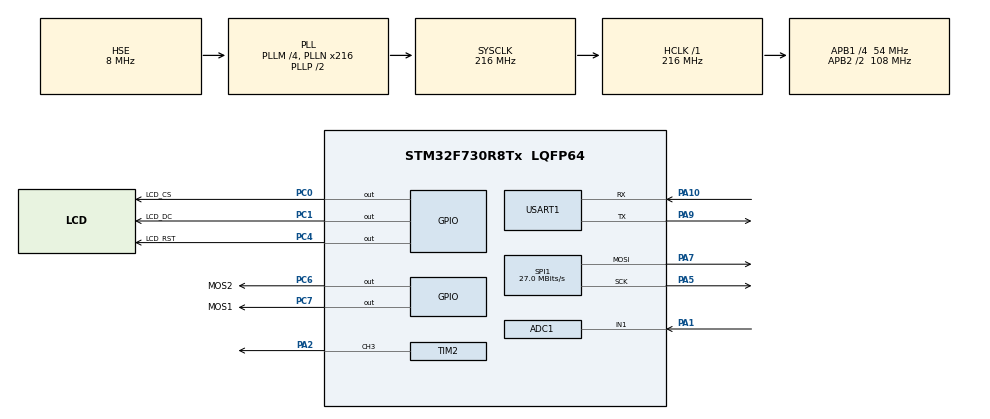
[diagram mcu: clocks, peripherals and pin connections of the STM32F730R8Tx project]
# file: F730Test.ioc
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ADC1.Channel-0\#ChannelRegularConversion=ADC_CHANNEL_1
ADC1.ContinuousConvMode=ENABLE
ADC1.DMAContinuousRequests=ENABLE
ADC1.EOCSelection=ADC_EOC_SEQ_CONV
ADC1.NbrOfConversionFlag=1
ADC1.Rank-0\#ChannelRegularConversion=1
ADC1.SamplingTime-0\#ChannelRegularConversion=ADC_SAMPLETIME_480CYCLES
ADC1.ScanConvMode=ADC_SCAN_ENABLE
ADC1.master=1
CORTEX_M7.default_mode_Activation=1
Dma.ADC1.1.Direction=DMA_PERIPH_TO_MEMORY
Dma.ADC1.1.FIFOMode=DMA_FIFOMODE_DISABLE
Dma.ADC1.1.Instance=DMA2_Stream0
Dma.ADC1.1.MemDataAlignment=DMA_MDATAALIGN_HALFWORD
Dma.ADC1.1.MemInc=DMA_MINC_ENABLE
Dma.ADC1.1.Mode=DMA_CIRCULAR
Dma.ADC1.1.PeriphDataAlignment=DMA_PDATAALIGN_HALFWORD
Dma.ADC1.1.PeriphInc=DMA_PINC_DISABLE
Dma.ADC1.1.Priority=DMA_PRIORITY_LOW
Dma.Request0=USART1_RX
Dma.Request1=ADC1
Dma.USART1_RX.0.Direction=DMA_PERIPH_TO_MEMORY
Dma.USART1_RX.0.FIFOMode=DMA_FIFOMODE_DISABLE
Dma.USART1_RX.0.Instance=DMA2_Stream2
Dma.USART1_RX.0.MemDataAlignment=DMA_MDATAALIGN_BYTE
Dma.USART1_RX.0.MemInc=DMA_MINC_ENABLE
Dma.USART1_RX.0.Mode=DMA_NORMAL
Dma.USART1_RX.0.PeriphDataAlignment=DMA_PDATAALIGN_BYTE
Dma.USART1_RX.0.PeriphInc=DMA_PINC_DISABLE
Dma.USART1_RX.0.Priority=DMA_PRIORITY_LOW
FREERTOS.INCLUDE_eTaskGetState=1
FREERTOS.INCLUDE_pcTaskGetTaskName=1
FREERTOS.INCLUDE_uxTaskGetStackHighWaterMark=1
FREERTOS.INCLUDE_uxTaskGetStackHighWaterMark2=1
FREERTOS.INCLUDE_vTaskCleanUpResources=1
FREERTOS.INCLUDE_vTaskDelayUntil=1
FREERTOS.INCLUDE_xQueueGetMutexHolder=1
FREERTOS.INCLUDE_xSemaphoreGetMutexHolder=1
FREERTOS.INCLUDE_xTaskAbortDelay=1
FREERTOS.INCLUDE_xTaskGetCurrentTaskHandle=1
FREERTOS.INCLUDE_xTaskGetHandle=1
FREERTOS.Queues01=myQueue01,64,uint16_t,0,Dynamic,NULL,NULL;myQueue02,32,uint16_t,0,Dynamic,NULL,NULL
FREERTOS.Tasks01=defaultTask,0,64,StartDefaultTask,Default,NULL,Dynamic,NULL,NULL;myTaskLCD,0,512,StartTaskLCD,Default,NULL,Dynamic,NULL,NULL;myTaskADC,2,256,StartTaskADC,Default,NULL,Dynamic,NULL,NULL
FREERTOS.configENABLE_FPU=1
FREERTOS.configMINIMAL_STACK_SIZE=64
FREERTOS.configUSE_NEWLIB_REENTRANT=0
Mcu.Family=STM32F7
Mcu.Name=STM32F730R8Tx
Mcu.Package=LQFP64
NVIC.ADC_IRQn=true\:0\:0\:false\:false\:true\:false\:true\:true\:true
NVIC.DMA2_Stream0_IRQn=true\:0\:0\:false\:false\:true\:false\:false\:true\:true
NVIC.DMA2_Stream2_IRQn=true\:0\:0\:false\:false\:true\:false\:false\:true\:true
NVIC.PriorityGroup=NVIC_PRIORITYGROUP_4
NVIC.TIM7_IRQn=true\:15\:0\:false\:false\:true\:false\:false\:true\:true
NVIC.TimeBase=TIM7_IRQn
NVIC.TimeBaseIP=TIM7
NVIC.USART1_IRQn=true\:0\:0\:false\:false\:true\:false\:true\:true\:true
PA1.Signal=ADCx_IN1
PA10.Mode=Asynchronous
PA10.Signal=USART1_RX
PA13.Mode=Serial_Wire
PA13.Signal=SYS_JTMS-SWDIO
PA14.Mode=Serial_Wire
PA14.Signal=SYS_JTCK-SWCLK
PA2.Signal=S_TIM2_CH3
PA5.Mode=TX_Only_Simplex_Unidirect_Master
PA5.Signal=SPI1_SCK
PA7.Mode=TX_Only_Simplex_Unidirect_Master
PA7.Signal=SPI1_MOSI
PA9.Mode=Asynchronous
PA9.Signal=USART1_TX
PC0.GPIO_Label=LCD_CS
PC0.GPIO_PuPd=GPIO_PULLUP
PC0.GPIO_Speed=GPIO_SPEED_FREQ_VERY_HIGH
PC0.PinState=GPIO_PIN_SET
PC0.Signal=GPIO_Output
PC1.GPIO_Label=LCD_DC
PC1.GPIO_PuPd=GPIO_PULLUP
PC1.GPIO_Speed=GPIO_SPEED_FREQ_VERY_HIGH
PC1.PinState=GPIO_PIN_SET
PC1.Signal=GPIO_Output
PC4.GPIO_Label=LCD_RST
PC4.GPIO_PuPd=GPIO_PULLUP
PC4.GPIO_Speed=GPIO_SPEED_FREQ_VERY_HIGH
PC4.PinState=GPIO_PIN_SET
PC4.Signal=GPIO_Output
PC6.GPIO_Label=MOS2
PC6.GPIO_Speed=GPIO_SPEED_FREQ_VERY_HIGH
PC6.Signal=GPIO_Output
PC7.GPIO_Label=MOS1
PC7.GPIO_Speed=GPIO_SPEED_FREQ_VERY_HIGH
PC7.Signal=GPIO_Output
PH0-OSC_IN.Mode=HSE-External-Oscillator
PH0-OSC_IN.Signal=RCC_OSC_IN
PH1-OSC_OUT.Mode=HSE-External-Oscillator
PH1-OSC_OUT.Signal=RCC_OSC_OUT
ProjectManager.HeapSize=0x400
ProjectManager.StackSize=0x800
ProjectManager.TargetToolchain=MDK-ARM V5.32
RCC.AHBFreq_Value=216000000
RCC.APB1CLKDivider=RCC_HCLK_DIV4
RCC.APB1Freq_Value=54000000
RCC.APB1TimFreq_Value=108000000
RCC.APB2CLKDivider=RCC_HCLK_DIV2
RCC.APB2Freq_Value=108000000
RCC.APB2TimFreq_Value=216000000
RCC.CortexFreq_Value=216000000
RCC.HCLKFreq_Value=216000000
RCC.HSE_VALUE=8000000
RCC.HSI_VALUE=16000000
RCC.PLLM=4
RCC.PLLN=216
RCC.PLLSourceVirtual=RCC_PLLSOURCE_HSE
RCC.SYSCLKFreq_VALUE=216000000
RCC.SYSCLKSource=RCC_SYSCLKSOURCE_PLLCLK
RCC.USBFreq_Value=216000000
RCC.VCOOutputFreq_Value=432000000
SH.ADCx_IN1.0=ADC1_IN1,IN1
SH.S_TIM2_CH3.0=TIM2_CH3,PWM Generation3 CH3
SPI1.BaudRatePrescaler=SPI_BAUDRATEPRESCALER_4
SPI1.CLKPhase=SPI_PHASE_1EDGE
SPI1.CLKPolarity=SPI_POLARITY_LOW
SPI1.CalculateBaudRate=27.0 MBits/s
SPI1.DataSize=SPI_DATASIZE_8BIT
SPI1.Direction=SPI_DIRECTION_2LINES
SPI1.Mode=SPI_MODE_MASTER
SPI1.NSSPMode=SPI_NSS_PULSE_DISABLE
SPI1.VirtualType=VM_MASTER
TIM2.Channel-PWM\ Generation3\ CH3=TIM_CHANNEL_3
TIM2.Period=1080-1
TIM2.Prescaler=0
USART1.DMADisableonRxErrorParam=ADVFEATURE_DMA_DISABLEONRXERROR
USART1.OverrunDisableParam=ADVFEATURE_OVERRUN_DISABLE
USART1.VirtualMode-Asynchronous=VM_ASYNC
VP_FREERTOS_VS_CMSIS_V1.Mode=CMSIS_V1
VP_SYS_VS_tim7.Mode=TIM7
VP_TIM2_VS_ClockSourceINT.Mode=Internal
board=custom

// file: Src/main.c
/* USER CODE BEGIN Header */
/**
  ******************************************************************************
  * @file           : main.c
  * @brief          : Main program body
  ******************************************************************************
  * @attention
  *
  * Copyright (c) 2022 STMicroelectronics.
  * All rights reserved.
  *
  * This software is licensed under terms that can be found in the LICENSE file
  * in the root directory of this software component.
  * If no LICENSE file comes with this software, it is provided AS-IS.
  *
  ******************************************************************************
  */
/* USER CODE END Header */
#include "main.h"
#include "cmsis_os.h"
#include "adc.h"
#include "dma.h"
#include "spi.h"
#include "tim.h"
#include "usart.h"
#include "gpio.h"

void SystemClock_Config(void);
static void MPU_Config(void);
void MX_FREERTOS_Init(void);

int main(void)
{

  /* MPU Configuration--------------------------------------------------------*/
  MPU_Config();

  /* MCU Configuration--------------------------------------------------------*/

  /* Reset of all peripherals, Initializes the Flash interface and the Systick. */
  HAL_Init();

  /* Configure the system clock */
  SystemClock_Config();

  /* Initialize all configured peripherals */
  MX_GPIO_Init();
  MX_DMA_Init();
  MX_ADC1_Init();
  MX_SPI1_Init();
  MX_USART1_UART_Init();
  MX_TIM2_Init();
  /* USER CODE BEGIN 2 */
    printf("system start\r\n");
  /* USER CODE END 2 */

  /* Call init function for freertos objects (in freertos.c) */
  MX_FREERTOS_Init();

  /* Start scheduler */
  osKernelStart();

  /* We should never get here as control is now taken by the scheduler */
  /* Infinite loop */
  /* USER CODE BEGIN WHILE */
    while (1)
    {
        HAL_GPIO_TogglePin(GPIOB,GPIO_PIN_2);
        HAL_Delay(2);
    /* USER CODE END WHILE */

    }
}

void SystemClock_Config(void)
{
  RCC_OscInitTypeDef RCC_OscInitStruct = {0};
  RCC_ClkInitTypeDef RCC_ClkInitStruct = {0};

  /** Configure the main internal regulator output voltage
  */
  __HAL_RCC_PWR_CLK_ENABLE();
  __HAL_PWR_VOLTAGESCALING_CONFIG(PWR_REGULATOR_VOLTAGE_SCALE1);

  /** Initializes the RCC Oscillators according to the specified parameters
  * in the RCC_OscInitTypeDef structure.
  */
  RCC_OscInitStruct.OscillatorType = RCC_OSCILLATORTYPE_HSE;
  RCC_OscInitStruct.HSEState = RCC_HSE_ON;
  RCC_OscInitStruct.PLL.PLLState = RCC_PLL_ON;
  RCC_OscInitStruct.PLL.PLLSource = RCC_PLLSOURCE_HSE;
  RCC_OscInitStruct.PLL.PLLM = 4;
  RCC_OscInitStruct.PLL.PLLN = 216;
  RCC_OscInitStruct.PLL.PLLP = RCC_PLLP_DIV2;
  RCC_OscInitStruct.PLL.PLLQ = 2;
  if (HAL_RCC_OscConfig(&RCC_OscInitStruct) != HAL_OK)
  {
    Error_Handler();
  }

  /** Activate the Over-Drive mode
  */
  if (HAL_PWREx_EnableOverDrive() != HAL_OK)
  {
    Error_Handler();
  }

  /** Initializes the CPU, AHB and APB buses clocks
  */
  RCC_ClkInitStruct.ClockType = RCC_CLOCKTYPE_HCLK|RCC_CLOCKTYPE_SYSCLK
                              |RCC_CLOCKTYPE_PCLK1|RCC_CLOCKTYPE_PCLK2;
  RCC_ClkInitStruct.SYSCLKSource = RCC_SYSCLKSOURCE_PLLCLK;
  RCC_ClkInitStruct.AHBCLKDivider = RCC_SYSCLK_DIV1;
  RCC_ClkInitStruct.APB1CLKDivider = RCC_HCLK_DIV4;
  RCC_ClkInitStruct.APB2CLKDivider = RCC_HCLK_DIV2;

  if (HAL_RCC_ClockConfig(&RCC_ClkInitStruct, FLASH_LATENCY_7) != HAL_OK)
  {
    Error_Handler();
  }
}

/* USER CODE BEGIN 4 */
#ifdef __GNUC__
/* With GCC/RAISONANCE, small printf (option LD Linker->Libraries->Small printf
   set to 'Yes') calls __io_putchar() */
#define PUTCHAR_PROTOTYPE int __io_putchar(int ch)
#else
#define PUTCHAR_PROTOTYPE int fputc(int ch, FILE *f)
#endif /* __GNUC__ */
/**
  * @brief  Retargets the C library printf function to the USART.
  * @param  None
  * @retval None
  */
PUTCHAR_PROTOTYPE
{
    /* Place your implementation of fputc here */
    /* e.g. write a character to the EVAL_COM1 and Loop until the end of transmission */
    HAL_UART_Transmit(&huart1, (uint8_t *)&ch, 1, 0xFFFF);
    return ch;
}

/* USER CODE END 4 */

/* MPU Configuration */

void MPU_Config(void)
{
  MPU_Region_InitTypeDef MPU_InitStruct = {0};

  /* Disables the MPU */
  HAL_MPU_Disable();

  /** Initializes and configures the Region and the memory to be protected
  */
  MPU_InitStruct.Enable = MPU_REGION_ENABLE;
  MPU_InitStruct.Number = MPU_REGION_NUMBER0;
  MPU_InitStruct.BaseAddress = 0x0;
  MPU_InitStruct.Size = MPU_REGION_SIZE_4GB;
  MPU_InitStruct.SubRegionDisable = 0x87;
  MPU_InitStruct.TypeExtField = MPU_TEX_LEVEL0;
  MPU_InitStruct.AccessPermission = MPU_REGION_NO_ACCESS;
  MPU_InitStruct.DisableExec = MPU_INSTRUCTION_ACCESS_DISABLE;
  MPU_InitStruct.IsShareable = MPU_ACCESS_SHAREABLE;
  MPU_InitStruct.IsCacheable = MPU_ACCESS_NOT_CACHEABLE;
  MPU_InitStruct.IsBufferable = MPU_ACCESS_NOT_BUFFERABLE;

  HAL_MPU_ConfigRegion(&MPU_InitStruct);
  /* Enables the MPU */
  HAL_MPU_Enable(MPU_PRIVILEGED_DEFAULT);

}

void HAL_TIM_PeriodElapsedCallback(TIM_HandleTypeDef *htim)
{
  if (htim->Instance == TIM7) {
    HAL_IncTick();
  }
}

void Error_Handler(void)
{
    __disable_irq();
    while (1)
    {
    }
}

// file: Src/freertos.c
/* USER CODE BEGIN Header */
/**
  ******************************************************************************
  * File Name          : freertos.c
  * Description        : Code for freertos applications
  ******************************************************************************
  * @attention
  *
  * Copyright (c) 2022 STMicroelectronics.
  * All rights reserved.
  *
  * This software is licensed under terms that can be found in the LICENSE file
  * in the root directory of this software component.
  * If no LICENSE file comes with this software, it is provided AS-IS.
  *
  ******************************************************************************
  */
/* USER CODE END Header */

#include "FreeRTOS.h"
#include "task.h"
#include "main.h"
#include "cmsis_os.h"

/* USER CODE BEGIN Includes */
#include "adc.h"
#include "spi.h"
#include "tim.h"
#include "lcd.h"

#define MOS1_SET(sta)   HAL_GPIO_WritePin(MOS1_GPIO_Port,MOS1_Pin,sta)
#define MOS2_SET(sta)   HAL_GPIO_WritePin(MOS2_GPIO_Port,MOS2_Pin,sta)

#define MOS_OFF         do{MOS1_SET(GPIO_PIN_RESET);MOS2_SET(GPIO_PIN_RESET);}while(0)
#define MOS_ON1         do{MOS2_SET(GPIO_PIN_RESET);MOS1_SET(GPIO_PIN_SET);}while(0)
#define MOS_ON2         do{MOS1_SET(GPIO_PIN_RESET);MOS2_SET(GPIO_PIN_SET);}while(0)

uint16_t adc_data[200];
__IO uint8_t  adc_cmp_flag = 0;
__IO uint16_t adc_avg[240];
__IO uint8_t  adc_pos = 0;
__IO int16_t  adc_calc = 0;
/* USER CODE END Includes */

osThreadId defaultTaskHandle;
osThreadId myTaskLCDHandle;
osThreadId myTaskADCHandle;
osMessageQId myQueue01Handle;
osMessageQId myQueue02Handle;

void StartDefaultTask(void const * argument);
void StartTaskLCD(void const * argument);
void StartTaskADC(void const * argument);

void MX_FREERTOS_Init(void); /* (MISRA C 2004 rule 8.1) */

/* GetIdleTaskMemory prototype (linked to static allocation support) */
void vApplicationGetIdleTaskMemory( StaticTask_t **ppxIdleTaskTCBBuffer, StackType_t **ppxIdleTaskStackBuffer, uint32_t *pulIdleTaskStackSize );

/* USER CODE BEGIN GET_IDLE_TASK_MEMORY */
static StaticTask_t xIdleTaskTCBBuffer;
static StackType_t xIdleStack[configMINIMAL_STACK_SIZE];

void vApplicationGetIdleTaskMemory( StaticTask_t **ppxIdleTaskTCBBuffer, StackType_t **ppxIdleTaskStackBuffer, uint32_t *pulIdleTaskStackSize )
{
    *ppxIdleTaskTCBBuffer = &xIdleTaskTCBBuffer;
    *ppxIdleTaskStackBuffer = &xIdleStack[0];
    *pulIdleTaskStackSize = configMINIMAL_STACK_SIZE;
    /* place for user code */
}
/* USER CODE END GET_IDLE_TASK_MEMORY */

void MX_FREERTOS_Init(void) {

  /* Create the queue(s) */
  /* definition and creation of myQueue01 */
  osMessageQDef(myQueue01, 64, uint16_t);
  myQueue01Handle = osMessageCreate(osMessageQ(myQueue01), NULL);

  /* definition and creation of myQueue02 */
  osMessageQDef(myQueue02, 32, uint16_t);
  myQueue02Handle = osMessageCreate(osMessageQ(myQueue02), NULL);

  /* Create the thread(s) */
  /* definition and creation of defaultTask */
  osThreadDef(defaultTask, StartDefaultTask, osPriorityNormal, 0, 64);
  defaultTaskHandle = osThreadCreate(osThread(defaultTask), NULL);

  /* definition and creation of myTaskLCD */
  osThreadDef(myTaskLCD, StartTaskLCD, osPriorityNormal, 0, 512);
  myTaskLCDHandle = osThreadCreate(osThread(myTaskLCD), NULL);

  /* definition and creation of myTaskADC */
  osThreadDef(myTaskADC, StartTaskADC, osPriorityHigh, 0, 256);
  myTaskADCHandle = osThreadCreate(osThread(myTaskADC), NULL);

}

void StartDefaultTask(void const * argument)
{
  /* USER CODE BEGIN StartDefaultTask */
    /* Infinite loop */
    if(0)
    {
        MOS_OFF;
        MOS_ON1;//PULL DOWN
        osDelay(100);
        MOS_ON2;//PULL UP
        osDelay(100);
        MOS_OFF;
    }
    for(;;)
    {
        osDelay(100);
    }
  /* USER CODE END StartDefaultTask */
}

void StartTaskLCD(void const * argument)
{
  /* USER CODE BEGIN StartTaskLCD */
    #define SCALE 5
    uint8_t i;
    uint32_t NotifyValue;
    uint16_t adcbuf[200];
    char buf[128];
    LCD_Init();
    LCD_Fill(0, 0, 240, 240, BLACK);
    HAL_TIM_PWM_Start(&htim2,TIM_CHANNEL_3);
    __HAL_TIM_SetCompare(&htim2,TIM_CHANNEL_3,720);
    LCD_ShowString(0, 0, "Hello World", 12, RED);
    show_str(0, 16, "Hello �̼�����", 16, RED);
    /* Infinite loop */
    for(;;)
    {
//        NotifyValue=ulTaskNotifyTake(pdFALSE,portMAX_DELAY);
//        if(NotifyValue > 1)
//        {
//            LCD_Fill(0, 0, 240, 240, BLACK);
//            for(i=0;i<240-1;i++)
//            {
//                LCD_DrawLine(i,240-(adc_avg[i] / SCALE)%240,i + 1,240-(adc_avg[i + 1] / SCALE)%240,RED);
//            }
//            for(i=0;i<200-1;i++)
//            {
//                LCD_DrawLine(i,adcbuf[i]   / 20,i + 1,adcbuf[i + 1]   / 20,BLACK);
//                LCD_DrawLine(i,adc_data[i] / 20,i + 1,adc_data[i + 1] / 20,RED);
//                //printf("%d,%d,%d,%d\r\n",adcbuf[i] / 20,adcbuf[i + 1] / 20,\
//                //adc_data[i] / 20,adc_data[i + 1] / 20);
//                adcbuf[i] = adc_data[i];
//            }
//        }
        NotifyValue=ulTaskNotifyTake(pdTRUE,5);
        if(NotifyValue>0)
        {
            uint32_t sum=0;
            for(i=0;i<50;i++)
            {
                sum += adc_avg[i + 50];
            }
            sum /= 50;
            sprintf(buf,"Init ADC:%5d,%7d",sum,HAL_GetTick()/100);
            show_str(0, 48, buf, 16, RED);
        }
        sprintf(buf,"Calc:%6d  ",adc_calc);
        show_str(0, 64, buf, 16, BLUE);

        osDelay(5);
        if(0)
        {
            LCD_Fill(0,32,120,48,BLACK);
            sprintf(buf,"Cnt:%d",NotifyValue);
            show_str(0, 32, buf, 16, RED);
            osDelay(50);
            if(NotifyValue == 5)
                osDelay(500);
        }
    }
  /* USER CODE END StartTaskLCD */
}

void StartTaskADC(void const * argument)
{
  /* USER CODE BEGIN StartTaskADC */
    HAL_ADC_Start_DMA(&hadc1,(uint32_t *)adc_data,200);
    BaseType_t err;
    int i;
    uint8_t adc_zero_flag = 0;
    int16_t data_change = 0;
    uint16_t adc_last = 0;
    /* Infinite loop */
    for(;;)
    {
        if(adc_cmp_flag == 1)
        {
            adc_cmp_flag = 0;
            uint32_t sum = 0;
            for(i=0;i<200;i++)
            {
                sum += adc_data[i];
            }
            sum /= 200;
            adc_avg[adc_pos] = sum;

            if(adc_zero_flag == 1)
            {
                data_change += (sum - adc_last);
                adc_last = sum;
                adc_calc = data_change;
                if(adc_calc > 5)
                {
                    MOS_ON2;//PULL UP
                }
                else
                {
                    MOS_OFF;
                }
            }

            adc_pos ++;
            if(adc_pos >= 240)
            {
                adc_pos = 0;
                if(adc_zero_flag == 0)
                {
                    adc_zero_flag = 1;
                    adc_last = sum;
                }
                xTaskNotifyGive(myTaskLCDHandle);
            }
            //HAL_ADC_Start_DMA(&hadc1,(uint32_t *)adc_data,200);
        }
        osDelay(1);
    }
  /* USER CODE END StartTaskADC */
}

/* USER CODE BEGIN Application */
void HAL_ADC_ConvCpltCallback(ADC_HandleTypeDef* hadc)
{
    if(adc_cmp_flag == 0)adc_cmp_flag = 1;
    //HAL_ADC_Start_DMA(&hadc1,(uint32_t *)adc_data,200);
}
/* USER CODE END Application */
